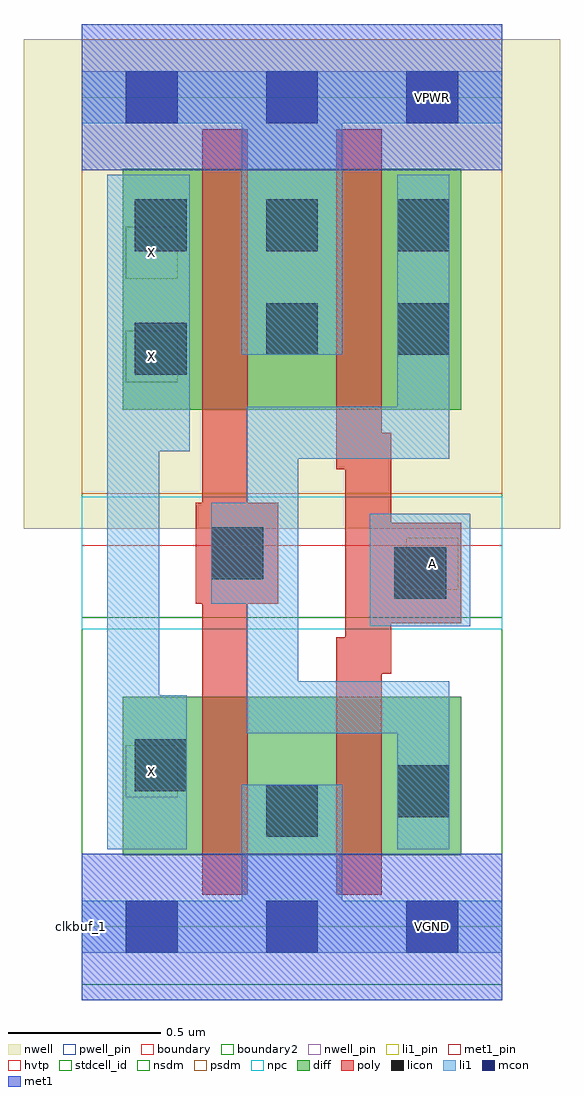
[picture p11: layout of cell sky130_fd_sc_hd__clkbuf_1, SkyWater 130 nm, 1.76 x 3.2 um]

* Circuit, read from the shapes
.subckt sky130_fd_sc_hd__clkbuf_1 A VGND VNB VPB VPWR X
XM1 VGND n1 X VNB sky130_fd_pr__nfet_01v8 w=0.52 l=0.15
XM2 n1 A VGND VNB sky130_fd_pr__nfet_01v8 w=0.52 l=0.15
XM3 VPWR n1 X VPB sky130_fd_pr__pfet_01v8_hvt w=0.79 l=0.15
XM4 n1 A VPWR VPB sky130_fd_pr__pfet_01v8_hvt w=0.79 l=0.15
.ends

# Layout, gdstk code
import gdstk
lib = gdstk.Library(unit=1e-6, precision=1e-09)
def R(c, l, rs):  # rectangles x0, y0, x1, y1
    for r in rs: c.add(gdstk.rectangle(r[:2], r[2:], *l))
def P(c, l, *ps):  # polygons
    for p in ps: c.add(gdstk.Polygon(p, *l))
nwell_pin = (64, 16)
nwell = (64, 20)
diff = (65, 20)
poly = (66, 20)
licon = (66, 44)
li1_pin = (67, 16)
li1 = (67, 20)
mcon = (67, 44)
met1_pin = (68, 16)
met1 = (68, 20)
hvtp = (78, 44)
stdcell_id = (81, 4)
nsdm = (93, 44)
psdm = (94, 20)
npc = (95, 20)
pwell_pin = (122, 16)
boundary = (235, 4)
boundary2 = (236, 0)

sky130_fd_sc_hd__clkbuf_ = lib.new_cell('sky130_fd_sc_hd__clkbuf_1')
R(sky130_fd_sc_hd__clkbuf_, nwell_pin, [(1.065,2.635,1.235,2.805), (1.065,2.635,1.235,2.805), (1.065,2.635,1.235,2.805), (1.065,2.635,1.235,2.805), (1.065,2.635,1.235,2.805)])
R(sky130_fd_sc_hd__clkbuf_, nwell, [(-0.19,1.305,1.57,2.91), (-0.19,1.305,1.57,2.91), (-0.19,1.305,1.57,2.91), (-0.19,1.305,1.57,2.91), (-0.19,1.305,1.57,2.91)])
R(sky130_fd_sc_hd__clkbuf_, diff, [(0.135,0.235,1.245,0.755), (0.135,0.235,1.245,0.755), (0.135,0.235,1.245,0.755), (0.135,0.235,1.245,0.755), (0.135,0.235,1.245,0.755), (0.135,1.695,1.245,2.485), (0.135,1.695,1.245,2.485), (0.135,1.695,1.245,2.485), (0.135,1.695,1.245,2.485), (0.135,1.695,1.245,2.485)])
R(sky130_fd_sc_hd__clkbuf_, poly, [(0.395,0.105,0.545,1.06), (0.395,0.105,0.545,1.06), (0.395,0.105,0.545,1.06), (0.395,0.105,0.545,1.06), (0.835,0.105,0.985,0.83), (0.835,0.105,0.985,0.83), (0.835,0.105,0.985,0.83), (0.835,0.105,0.985,0.83), (0.835,0.83,1.015,0.95), (0.835,0.83,1.015,0.95), (0.835,0.83,1.015,0.95), (0.835,0.83,1.015,0.95), (0.865,0.95,1.015,0.995), (0.865,0.95,1.015,0.995), (0.865,0.95,1.015,0.995), (0.865,0.95,1.015,0.995), (0.865,0.995,1.245,1.325), (0.865,0.995,1.245,1.325), (0.865,0.995,1.245,1.325), (0.865,0.995,1.245,1.325), (0.375,1.06,0.645,1.39), (0.375,1.06,0.645,1.39), (0.375,1.06,0.645,1.39), (0.375,1.06,0.645,1.39), (0.865,1.325,1.015,1.5), (0.865,1.325,1.015,1.5), (0.865,1.325,1.015,1.5), (0.865,1.325,1.015,1.5), (0.395,1.39,0.545,2.615), (0.395,1.39,0.545,2.615), (0.395,1.39,0.545,2.615), (0.395,1.39,0.545,2.615), (0.835,1.5,1.015,1.62), (0.835,1.5,1.015,1.62), (0.835,1.5,1.015,1.62), (0.835,1.5,1.015,1.62), (0.835,1.62,0.985,2.615), (0.835,1.62,0.985,2.615), (0.835,1.62,0.985,2.615), (0.835,1.62,0.985,2.615)])
P(sky130_fd_sc_hd__clkbuf_, poly, [(0.395,0.105),(0.395,1.06),(0.375,1.06),(0.375,1.39),(0.395,1.39),(0.395,2.615),(0.545,2.615),(0.545,1.39),(0.645,1.39),(0.645,1.06),(0.545,1.06),(0.545,0.105)],
  [(0.835,0.105),(0.835,0.95),(0.865,0.95),(0.865,1.5),(0.835,1.5),(0.835,2.615),(0.985,2.615),(0.985,1.62),(1.015,1.62),(1.015,1.325),(1.245,1.325),(1.245,0.995),(1.015,0.995),(1.015,0.83),(0.985,0.83),(0.985,0.105)])
R(sky130_fd_sc_hd__clkbuf_, licon, [(0.605,0.295,0.775,0.465), (0.605,0.295,0.775,0.465), (0.605,0.295,0.775,0.465), (0.605,0.295,0.775,0.465), (0.605,0.295,0.775,0.465), (1.035,0.36,1.205,0.53), (1.035,0.36,1.205,0.53), (1.035,0.36,1.205,0.53), (1.035,0.36,1.205,0.53), (1.035,0.36,1.205,0.53), (0.175,0.445,0.345,0.615), (0.175,0.445,0.345,0.615), (0.175,0.445,0.345,0.615), (0.175,0.445,0.345,0.615), (0.175,0.445,0.345,0.615), (1.025,1.075,1.195,1.245), (1.025,1.075,1.195,1.245), (1.025,1.075,1.195,1.245), (1.025,1.075,1.195,1.245), (1.025,1.075,1.195,1.245), (0.425,1.14,0.595,1.31), (0.425,1.14,0.595,1.31), (0.425,1.14,0.595,1.31), (0.425,1.14,0.595,1.31), (0.425,1.14,0.595,1.31), (0.175,1.81,0.345,1.98), (0.175,1.81,0.345,1.98), (0.175,1.81,0.345,1.98), (0.175,1.81,0.345,1.98), (0.175,1.81,0.345,1.98), (0.605,1.875,0.775,2.045), (0.605,1.875,0.775,2.045), (0.605,1.875,0.775,2.045), (0.605,1.875,0.775,2.045), (0.605,1.875,0.775,2.045), (1.035,1.875,1.205,2.045), (1.035,1.875,1.205,2.045), (1.035,1.875,1.205,2.045), (1.035,1.875,1.205,2.045), (1.035,1.875,1.205,2.045), (0.175,2.215,0.345,2.385), (0.175,2.215,0.345,2.385), (0.175,2.215,0.345,2.385), (0.175,2.215,0.345,2.385), (0.175,2.215,0.345,2.385), (0.605,2.215,0.775,2.385), (0.605,2.215,0.775,2.385), (0.605,2.215,0.775,2.385), (0.605,2.215,0.775,2.385), (0.605,2.215,0.775,2.385), (1.035,2.215,1.205,2.385), (1.035,2.215,1.205,2.385), (1.035,2.215,1.205,2.385), (1.035,2.215,1.205,2.385), (1.035,2.215,1.205,2.385)])
R(sky130_fd_sc_hd__clkbuf_, li1_pin, [(0.145,0.425,0.315,0.595), (0.145,0.425,0.315,0.595), (0.145,0.425,0.315,0.595), (0.145,0.425,0.315,0.595), (0.145,0.425,0.315,0.595), (1.065,1.105,1.235,1.275), (1.065,1.105,1.235,1.275), (1.065,1.105,1.235,1.275), (1.065,1.105,1.235,1.275), (1.065,1.105,1.235,1.275), (0.145,1.785,0.315,1.955), (0.145,1.785,0.315,1.955), (0.145,1.785,0.315,1.955), (0.145,1.785,0.315,1.955), (0.145,1.785,0.315,1.955), (0.145,2.125,0.315,2.295), (0.145,2.125,0.315,2.295), (0.145,2.125,0.315,2.295), (0.145,2.125,0.315,2.295), (0.145,2.125,0.315,2.295)])
R(sky130_fd_sc_hd__clkbuf_, li1, [(0,-0.085,1.38,0.085), (0,-0.085,1.38,0.085), (0,-0.085,1.38,0.085), (0,-0.085,1.38,0.085), (0.525,0.085,0.855,0.465), (0.525,0.085,0.855,0.465), (0.525,0.085,0.855,0.465), (0.525,0.085,0.855,0.465), (0.085,0.255,0.345,0.76), (0.085,0.255,0.345,0.76), (0.085,0.255,0.345,0.76), (0.085,0.255,0.345,0.76), (1.035,0.255,1.205,0.635), (1.035,0.255,1.205,0.635), (1.035,0.255,1.205,0.635), (1.035,0.255,1.205,0.635), (0.54,0.635,1.205,0.805), (0.54,0.635,1.205,0.805), (0.54,0.635,1.205,0.805), (0.54,0.635,1.205,0.805), (0.085,0.76,0.255,1.56), (0.085,0.76,0.255,1.56), (0.085,0.76,0.255,1.56), (0.085,0.76,0.255,1.56), (0.54,0.805,0.71,1.06), (0.54,0.805,0.71,1.06), (0.54,0.805,0.71,1.06), (0.54,0.805,0.71,1.06), (0.945,0.985,1.275,1.355), (0.945,0.985,1.275,1.355), (0.945,0.985,1.275,1.355), (0.945,0.985,1.275,1.355), (0.945,0.985,1.275,1.355), (0.425,1.06,0.71,1.39), (0.425,1.06,0.71,1.39), (0.425,1.06,0.71,1.39), (0.425,1.06,0.71,1.39), (0.54,1.39,0.71,1.535), (0.54,1.39,0.71,1.535), (0.54,1.39,0.71,1.535), (0.54,1.39,0.71,1.535), (0.54,1.535,1.205,1.705), (0.54,1.535,1.205,1.705), (0.54,1.535,1.205,1.705), (0.54,1.535,1.205,1.705), (0.085,1.56,0.355,2.465), (0.085,1.56,0.355,2.465), (0.085,1.56,0.355,2.465), (0.085,1.56,0.355,2.465), (1.035,1.705,1.205,2.465), (1.035,1.705,1.205,2.465), (1.035,1.705,1.205,2.465), (1.035,1.705,1.205,2.465), (0.525,1.875,0.855,2.635), (0.525,1.875,0.855,2.635), (0.525,1.875,0.855,2.635), (0.525,1.875,0.855,2.635), (0,2.635,1.38,2.805), (0,2.635,1.38,2.805), (0,2.635,1.38,2.805), (0,2.635,1.38,2.805)])
P(sky130_fd_sc_hd__clkbuf_, li1, [(0.085,0.255),(0.085,2.465),(0.355,2.465),(0.355,1.56),(0.255,1.56),(0.255,0.76),(0.345,0.76),(0.345,0.255)],
  [(0,-0.085),(0,0.085),(0.525,0.085),(0.525,0.465),(0.855,0.465),(0.855,0.085),(1.38,0.085),(1.38,-0.085)],
  [(1.035,0.255),(1.035,0.635),(0.54,0.635),(0.54,1.06),(0.425,1.06),(0.425,1.39),(0.54,1.39),(0.54,1.705),(1.035,1.705),(1.035,2.465),(1.205,2.465),(1.205,1.535),(0.71,1.535),(0.71,0.805),(1.205,0.805),(1.205,0.255)],
  [(0.525,1.875),(0.525,2.635),(0,2.635),(0,2.805),(1.38,2.805),(1.38,2.635),(0.855,2.635),(0.855,1.875)])
R(sky130_fd_sc_hd__clkbuf_, mcon, [(0.145,-0.085,0.315,0.085), (0.145,-0.085,0.315,0.085), (0.145,-0.085,0.315,0.085), (0.145,-0.085,0.315,0.085), (0.145,-0.085,0.315,0.085), (0.605,-0.085,0.775,0.085), (0.605,-0.085,0.775,0.085), (0.605,-0.085,0.775,0.085), (0.605,-0.085,0.775,0.085), (0.605,-0.085,0.775,0.085), (1.065,-0.085,1.235,0.085), (1.065,-0.085,1.235,0.085), (1.065,-0.085,1.235,0.085), (1.065,-0.085,1.235,0.085), (1.065,-0.085,1.235,0.085), (0.145,2.635,0.315,2.805), (0.145,2.635,0.315,2.805), (0.145,2.635,0.315,2.805), (0.145,2.635,0.315,2.805), (0.145,2.635,0.315,2.805), (0.605,2.635,0.775,2.805), (0.605,2.635,0.775,2.805), (0.605,2.635,0.775,2.805), (0.605,2.635,0.775,2.805), (0.605,2.635,0.775,2.805), (1.065,2.635,1.235,2.805), (1.065,2.635,1.235,2.805), (1.065,2.635,1.235,2.805), (1.065,2.635,1.235,2.805), (1.065,2.635,1.235,2.805)])
R(sky130_fd_sc_hd__clkbuf_, met1_pin, [(1.065,-0.085,1.235,0.085), (1.065,-0.085,1.235,0.085), (1.065,-0.085,1.235,0.085), (1.065,-0.085,1.235,0.085), (1.065,-0.085,1.235,0.085), (1.065,2.635,1.235,2.805), (1.065,2.635,1.235,2.805), (1.065,2.635,1.235,2.805), (1.065,2.635,1.235,2.805), (1.065,2.635,1.235,2.805)])
R(sky130_fd_sc_hd__clkbuf_, met1, [(0,-0.24,1.38,0.24), (0,-0.24,1.38,0.24), (0,-0.24,1.38,0.24), (0,-0.24,1.38,0.24), (0,2.48,1.38,2.96), (0,2.48,1.38,2.96), (0,2.48,1.38,2.96), (0,2.48,1.38,2.96)])
R(sky130_fd_sc_hd__clkbuf_, hvtp, [(0,1.25,1.38,2.72), (0.215,1.515,1.165,2.665), (0.215,1.515,1.165,2.665), (0.215,1.515,1.165,2.665), (0.215,1.515,1.165,2.665)])
R(sky130_fd_sc_hd__clkbuf_, stdcell_id, [(0,0,1.38,2.72), (0,0,1.38,2.72), (0,0,1.38,2.72), (0,0,1.38,2.72), (0,0,1.38,2.72)])
R(sky130_fd_sc_hd__clkbuf_, nsdm, [(0,-0.19,1.38,1.015), (0.01,0.11,1.37,0.88), (0.01,0.11,1.37,0.88), (0.01,0.11,1.37,0.88), (0.01,0.11,1.37,0.88)])
R(sky130_fd_sc_hd__clkbuf_, psdm, [(0,1.42,1.38,2.91), (0.01,1.57,1.37,2.61), (0.01,1.57,1.37,2.61), (0.01,1.57,1.37,2.61), (0.01,1.57,1.37,2.61)])
R(sky130_fd_sc_hd__clkbuf_, npc, [(0,0.975,1.38,1.41), (0.925,0.975,1.295,1.04), (0.925,0.975,1.295,1.04), (0.925,0.975,1.295,1.04), (0.925,0.975,1.295,1.04), (0.325,1.04,1.295,1.345), (0.325,1.04,1.295,1.345), (0.325,1.04,1.295,1.345), (0.325,1.04,1.295,1.345), (0.325,1.345,0.695,1.41), (0.325,1.345,0.695,1.41), (0.325,1.345,0.695,1.41), (0.325,1.345,0.695,1.41)])
R(sky130_fd_sc_hd__clkbuf_, pwell_pin, [(1.065,-0.085,1.235,0.085), (1.065,-0.085,1.235,0.085), (1.065,-0.085,1.235,0.085), (1.065,-0.085,1.235,0.085), (1.065,-0.085,1.235,0.085)])
R(sky130_fd_sc_hd__clkbuf_, boundary, [(0,0,1.38,2.72), (0,0,1.38,2.72), (0,0,1.38,2.72), (0,0,1.38,2.72)])
R(sky130_fd_sc_hd__clkbuf_, boundary2, [(0,0,1.38,2.72)])
sky130_fd_sc_hd__clkbuf_.add(gdstk.FlexPath([(1.38,0),(0,0)], 0.48, ends="flush", simple_path=True, layer=68, datatype=20))  # met1
sky130_fd_sc_hd__clkbuf_.add(gdstk.FlexPath([(1.38,2.72),(0,2.72)], 0.48, ends="flush", simple_path=True, layer=68, datatype=20))  # met1
sky130_fd_sc_hd__clkbuf_.add(gdstk.Label('X', (0.23,0.51), layer=67, texttype=5))
sky130_fd_sc_hd__clkbuf_.add(gdstk.Label('X', (0.23,1.87), layer=67, texttype=5))
sky130_fd_sc_hd__clkbuf_.add(gdstk.Label('X', (0.23,2.21), layer=67, texttype=5))
sky130_fd_sc_hd__clkbuf_.add(gdstk.Label('A', (1.15,1.19), layer=67, texttype=5))
sky130_fd_sc_hd__clkbuf_.add(gdstk.Label('X', (0.23,2.21), layer=67, texttype=5))
sky130_fd_sc_hd__clkbuf_.add(gdstk.Label('X', (0.23,1.87), layer=67, texttype=5))
sky130_fd_sc_hd__clkbuf_.add(gdstk.Label('X', (0.23,0.51), layer=67, texttype=5))
sky130_fd_sc_hd__clkbuf_.add(gdstk.Label('A', (1.15,1.19), layer=67, texttype=5))
sky130_fd_sc_hd__clkbuf_.add(gdstk.Label('X', (0.23,0.51), layer=67, texttype=5))
sky130_fd_sc_hd__clkbuf_.add(gdstk.Label('X', (0.23,1.87), layer=67, texttype=5))
sky130_fd_sc_hd__clkbuf_.add(gdstk.Label('X', (0.23,2.21), layer=67, texttype=5))
sky130_fd_sc_hd__clkbuf_.add(gdstk.Label('A', (1.15,1.19), layer=67, texttype=5))
sky130_fd_sc_hd__clkbuf_.add(gdstk.Label('X', (0.23,0.51), layer=67, texttype=5))
sky130_fd_sc_hd__clkbuf_.add(gdstk.Label('X', (0.23,1.87), layer=67, texttype=5))
sky130_fd_sc_hd__clkbuf_.add(gdstk.Label('X', (0.23,2.21), layer=67, texttype=5))
sky130_fd_sc_hd__clkbuf_.add(gdstk.Label('A', (1.15,1.19), layer=67, texttype=5))
sky130_fd_sc_hd__clkbuf_.add(gdstk.Label('X', (0.23,0.51), layer=67, texttype=5))
sky130_fd_sc_hd__clkbuf_.add(gdstk.Label('X', (0.23,1.87), layer=67, texttype=5))
sky130_fd_sc_hd__clkbuf_.add(gdstk.Label('X', (0.23,2.21), layer=67, texttype=5))
sky130_fd_sc_hd__clkbuf_.add(gdstk.Label('A', (1.15,1.19), layer=67, texttype=5))
sky130_fd_sc_hd__clkbuf_.add(gdstk.Label('VGND', (1.15,0), layer=68, texttype=5))
sky130_fd_sc_hd__clkbuf_.add(gdstk.Label('VPWR', (1.15,2.72), layer=68, texttype=5))
sky130_fd_sc_hd__clkbuf_.add(gdstk.Label('VGND', (1.15,0), layer=68, texttype=5))
sky130_fd_sc_hd__clkbuf_.add(gdstk.Label('VPWR', (1.15,2.72), layer=68, texttype=5))
sky130_fd_sc_hd__clkbuf_.add(gdstk.Label('VGND', (1.15,0), layer=68, texttype=5))
sky130_fd_sc_hd__clkbuf_.add(gdstk.Label('VPWR', (1.15,2.72), layer=68, texttype=5))
sky130_fd_sc_hd__clkbuf_.add(gdstk.Label('VGND', (1.15,0), layer=68, texttype=5))
sky130_fd_sc_hd__clkbuf_.add(gdstk.Label('VPWR', (1.15,2.72), layer=68, texttype=5))
sky130_fd_sc_hd__clkbuf_.add(gdstk.Label('VGND', (1.15,0), layer=68, texttype=5))
sky130_fd_sc_hd__clkbuf_.add(gdstk.Label('VPWR', (1.15,2.72), layer=68, texttype=5))
sky130_fd_sc_hd__clkbuf_.add(gdstk.Label('VPB', (1.15,2.72), layer=64, texttype=5))
sky130_fd_sc_hd__clkbuf_.add(gdstk.Label('VPB', (1.15,2.72), layer=64, texttype=5))
sky130_fd_sc_hd__clkbuf_.add(gdstk.Label('VPB', (1.15,2.72), layer=64, texttype=5))
sky130_fd_sc_hd__clkbuf_.add(gdstk.Label('VPB', (1.15,2.72), layer=64, texttype=5))
sky130_fd_sc_hd__clkbuf_.add(gdstk.Label('VPB', (1.15,2.72), layer=64, texttype=5))
sky130_fd_sc_hd__clkbuf_.add(gdstk.Label('VNB', (1.15,0), layer=64, texttype=59))
sky130_fd_sc_hd__clkbuf_.add(gdstk.Label('VNB', (1.15,0), layer=64, texttype=59))
sky130_fd_sc_hd__clkbuf_.add(gdstk.Label('VNB', (1.15,0), layer=64, texttype=59))
sky130_fd_sc_hd__clkbuf_.add(gdstk.Label('VNB', (1.15,0), layer=64, texttype=59))
sky130_fd_sc_hd__clkbuf_.add(gdstk.Label('VNB', (1.15,0), layer=64, texttype=59))
sky130_fd_sc_hd__clkbuf_.add(gdstk.Label('clkbuf_1', (0,0), layer=83, texttype=44))

lib.write_gds('sky130_fd_sc_hd__clkbuf_1.gds')
